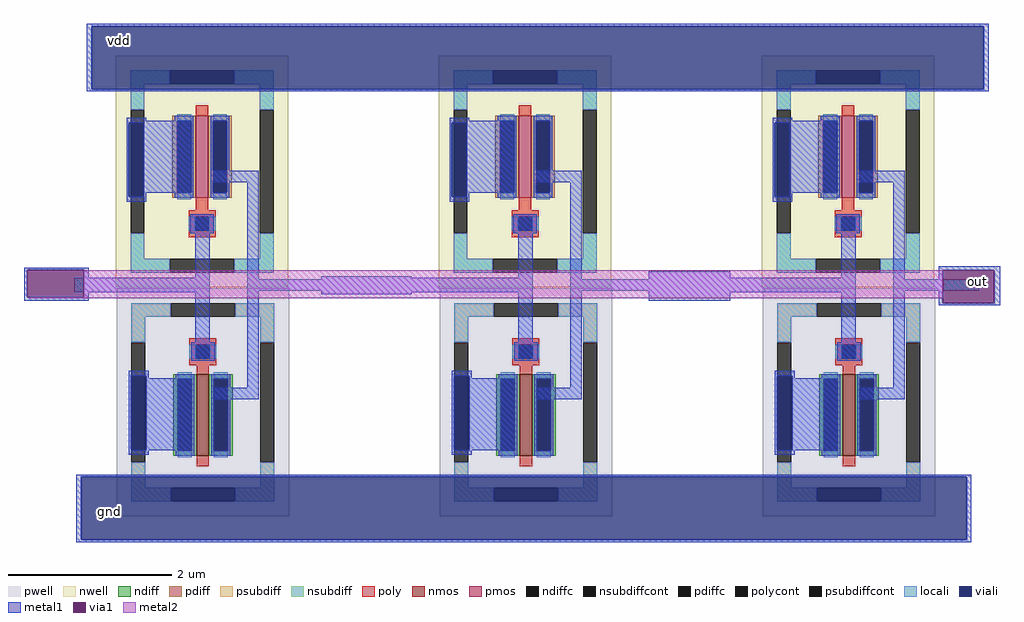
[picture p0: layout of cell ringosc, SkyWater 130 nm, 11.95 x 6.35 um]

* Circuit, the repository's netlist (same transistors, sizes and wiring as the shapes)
** sch_path: /home/chandra_hartono/project/ringosc/ringosc.sch
.subckt ringosc vdd out gnd
*.PININFO out:O gnd:B vdd:B
x1 vdd net1 net2 gnd inverter
x2 vdd net2 out gnd inverter
x3 vdd out net1 gnd inverter
.ends

* expanding   symbol:  /home/chandra_hartono/project/inverter/inverter.sym # of pins=4
** sym_path: /home/chandra_hartono/project/inverter/inverter.sym
** sch_path: /home/chandra_hartono/project/inverter/inverter.sch
.subckt inverter VDD in out gnd
*.PININFO in:I out:O VDD:B gnd:B
XM1 out in gnd gnd sky130_fd_pr__nfet_01v8 L=0.15 W=1 nf=1 m=1
XM2 out in VDD VDD sky130_fd_pr__pfet_01v8 L=0.15 W=1 nf=1 m=1
.ends

.end

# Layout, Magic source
magic
tech sky130A
magscale 1 2
<< viali >>
rect 328 2598 2512 2752
rect 302 1494 2470 1648
<< metal1 >>
rect 316 2752 2524 2758
rect 316 2598 328 2752
rect 2512 2598 2524 2752
rect 316 2592 2524 2598
rect 162 2156 320 2160
rect 162 2088 170 2156
rect 308 2088 320 2156
rect 2402 2154 2552 2164
rect 890 2096 1112 2140
rect 162 2080 320 2088
rect 1692 2080 1892 2152
rect 2402 2074 2412 2154
rect 2538 2074 2552 2154
rect 2402 2068 2552 2074
rect 290 1648 2482 1654
rect 290 1494 302 1648
rect 2470 1494 2482 1648
rect 290 1488 2482 1494
<< via1 >>
rect 170 2088 308 2156
rect 2412 2074 2538 2154
<< metal2 >>
rect 308 2088 2412 2154
rect 176 2086 2412 2088
use inverter  x1
transform 1 0 53 0 1 1306
box 232 246 866 1374
use inverter  x2
transform 1 0 844 0 1 1306
box 232 246 866 1374
use inverter  x3
transform 1 0 1635 0 1 1306
box 232 246 866 1374
<< labels >>
flabel viali 396 2718 396 2718 0 FreeSans 800 0 0 0 vdd
port 0 nsew
flabel viali 362 1546 380 1582 0 FreeSans 800 0 0 0 gnd
port 1 nsew
flabel via1 2470 2110 2522 2142 0 FreeSans 800 0 0 0 out
port 2 nsew
<< end >>

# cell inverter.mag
magic
tech sky130A
magscale 1 2
<< viali >>
rect 366 1028 402 1210
rect 372 408 408 590
<< metal1 >>
rect 360 1214 408 1222
rect 360 1210 516 1214
rect 360 1028 366 1210
rect 402 1038 516 1210
rect 572 1064 684 1092
rect 402 1028 408 1038
rect 360 1016 408 1028
rect 528 830 564 980
rect 232 794 564 830
rect 528 632 564 794
rect 656 826 684 1064
rect 656 798 866 826
rect 366 590 414 602
rect 366 408 372 590
rect 408 584 414 590
rect 408 408 518 584
rect 656 560 684 798
rect 576 532 684 560
rect 366 396 414 408
use sky130_fd_pr__nfet_01v8_64Z3AY  XM1
transform 1 0 547 0 1 525
box -211 -279 211 279
use sky130_fd_pr__pfet_01v8_LGS3BL  XM2
transform 1 0 545 0 1 1090
box -211 -284 211 284
<< labels >>
flabel metal1 424 1120 424 1122 0 FreeSans 80 0 0 0 VDD
port 0 nsew
flabel metal1 430 496 430 496 0 FreeSans 80 0 0 0 GND
port 1 nsew
flabel metal1 260 810 260 810 0 FreeSans 80 0 0 0 IN
port 2 nsew
flabel metal1 830 812 830 812 0 FreeSans 80 0 0 0 Out
port 3 nsew
<< end >>

# cell sky130_fd_pr__nfet_01v8_64Z3AY: kit device sky130_fd_pr__nfet_01v8, w 1.0 l 0.15 m 1 nf 1 diffcov 100 polycov 100 guard 1 glc 1 grc 1 gtc 1 gbc 1 tbcov 100 rlcov 100 topc 1 botc 0 poverlap 0 doverlap 1 lmin 0.15 wmin 0.42 compatible {sky130_fd_pr__nfet_01v8 sky130_fd_pr__nfet_01v8_lvt sky130_fd_bs_flash__special_sonosfet_star sky130_fd_pr__nfet_g5v0d10v5 sky130_fd_pr__nfet_05v0_nvt sky130_fd_pr__nfet_03v3_nvt} full_metal 1 viasrc 100 viadrn 100 viagate 100 viagb 0 viagr 0 viagl 0 viagt 0

# cell sky130_fd_pr__pfet_01v8_LGS3BL: kit device sky130_fd_pr__pfet_01v8, w 1.0 l 0.15 m 1 nf 1 diffcov 100 polycov 100 guard 1 glc 1 grc 1 gtc 1 gbc 1 tbcov 100 rlcov 100 topc 0 botc 1 poverlap 0 doverlap 1 lmin 0.15 wmin 0.42 compatible {sky130_fd_pr__pfet_01v8 sky130_fd_pr__pfet_01v8_lvt sky130_fd_pr__pfet_01v8_hvt sky130_fd_pr__pfet_g5v0d10v5} full_metal 1 viasrc 100 viadrn 100 viagate 100 viagb 0 viagr 0 viagl 0 viagt 0
